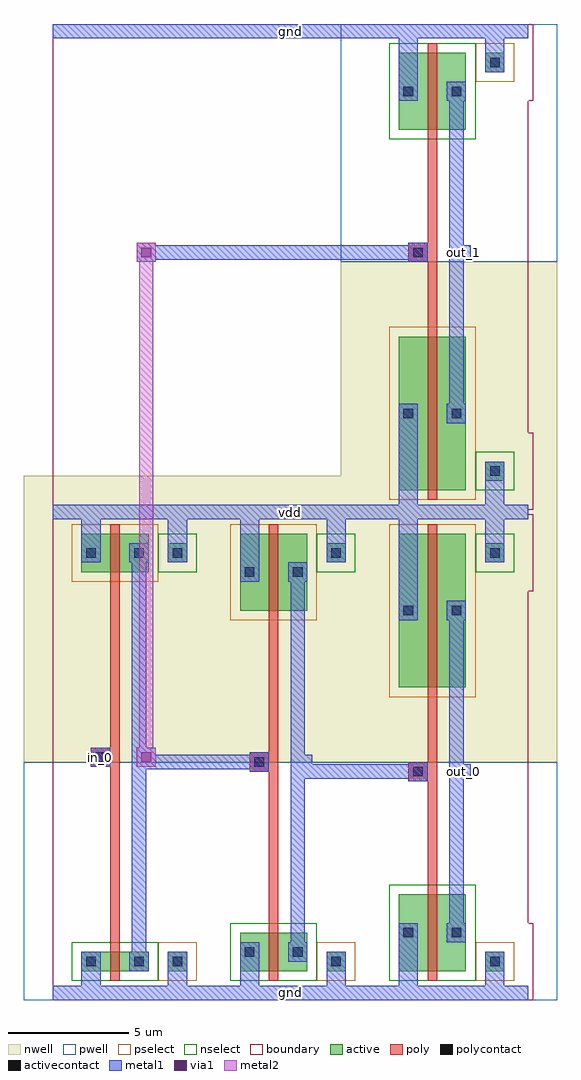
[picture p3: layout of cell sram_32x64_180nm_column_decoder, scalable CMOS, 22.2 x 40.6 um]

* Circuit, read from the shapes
.subckt sram_32x64_180nm_column_decoder gnd in_0 out_0 out_1 vdd
M1 sram_32x64_180nm_pinvbuf_0/sram_32x64_180nm_pinv_3_1/A in_0 gnd gnd nfet w=0.8u l=0.4u
M2 sram_32x64_180nm_pinvbuf_0/sram_32x64_180nm_pinv_4_2/A sram_32x64_180nm_pinvbuf_0/sram_32x64_180nm_pinv_3_1/A gnd gnd nfet w=1.6u l=0.4u
M3 out_0 sram_32x64_180nm_pinvbuf_0/sram_32x64_180nm_pinv_4_2/A gnd gnd nfet w=3.2u l=0.4u
M4 out_1 sram_32x64_180nm_pinvbuf_0/sram_32x64_180nm_pinv_3_1/A gnd gnd nfet w=3.2u l=0.4u
M5 sram_32x64_180nm_pinvbuf_0/sram_32x64_180nm_pinv_3_1/A in_0 vdd vdd pfet w=1.6u l=0.4u
M6 sram_32x64_180nm_pinvbuf_0/sram_32x64_180nm_pinv_4_2/A sram_32x64_180nm_pinvbuf_0/sram_32x64_180nm_pinv_3_1/A vdd vdd pfet w=3.2u l=0.4u
M7 out_0 sram_32x64_180nm_pinvbuf_0/sram_32x64_180nm_pinv_4_2/A vdd vdd pfet w=6.4u l=0.4u
M8 out_1 sram_32x64_180nm_pinvbuf_0/sram_32x64_180nm_pinv_3_1/A vdd vdd pfet w=6.4u l=0.4u
.ends

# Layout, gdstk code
import gdstk
lib = gdstk.Library(unit=1e-6, precision=1e-09)
def R(c, l, rs):  # rectangles x0, y0, x1, y1
    for r in rs: c.add(gdstk.rectangle(r[:2], r[2:], *l))
def A(c, l, x, y, w, h, nx, ny, dx, dy):  # array of equal rectangles
    R(c, l, [(x+i*dx, y+j*dy, x+i*dx+w, y+j*dy+h) for i in range(nx) for j in range(ny)])
pwell = (41, 0)
nwell = (42, 0)
active = (43, 0)
pselect = (44, 0)
nselect = (45, 0)
poly = (46, 0)
polycontact = (47, 0)
activecontact = (48, 0)
metal1 = (49, 0)
via1 = (50, 0)
metal2 = (51, 0)
boundary = (63, 0)

sram_32x64_180nm_contact = lib.new_cell('sram_32x64_180nm_contact_12')
R(sram_32x64_180nm_contact, nwell, [(-1.2,-1.2,2,2)])
R(sram_32x64_180nm_contact, active, [(0,0,0.8,0.8)])
R(sram_32x64_180nm_contact, pselect, [(-0.4,-0.4,1.2,1.2)])
R(sram_32x64_180nm_contact, activecontact, [(0.2,0.2,0.6,0.6)])
R(sram_32x64_180nm_contact, metal1, [(0,0,0.8,0.8)])
R(sram_32x64_180nm_contact, boundary, [(-1.2,-1.2,2,2)])

sram_32x64_180nm_pmos_m1 = lib.new_cell('sram_32x64_180nm_pmos_m1_w1_600_sm1_dm1_da_p')
R(sram_32x64_180nm_pmos_m1, nwell, [(-1.2,-1.2,4,2.8)])
R(sram_32x64_180nm_pmos_m1, active, [(0,0,2.8,1.6)])
R(sram_32x64_180nm_pmos_m1, pselect, [(-0.4,-0.4,3.2,2)])
R(sram_32x64_180nm_pmos_m1, poly, [(1.2,-0.4,1.6,2), (1.2,-0.4,1.6,2)])
R(sram_32x64_180nm_pmos_m1, metal1, [(0,0.4,0.8,1.2), (2,0.4,2.8,1.2)])
R(sram_32x64_180nm_pmos_m1, boundary, [(-1.2,-1.2,4,2.8)])
sram_32x64_180nm_pmos_m1.add(gdstk.Reference(sram_32x64_180nm_contact, (0,0.4)))
sram_32x64_180nm_pmos_m1.add(gdstk.Reference(sram_32x64_180nm_contact, (2,0.4)))
sram_32x64_180nm_pmos_m1.add(gdstk.Label('G', (1.4,0.8), layer=46, texttype=0))
sram_32x64_180nm_pmos_m1.add(gdstk.Label('S', (0.4,0.8), layer=49, texttype=0))
sram_32x64_180nm_pmos_m1.add(gdstk.Label('D', (2.4,0.8), layer=49, texttype=0))

c_sram_32x64_180nm_contact = lib.new_cell('sram_32x64_180nm_contact_11')
R(c_sram_32x64_180nm_contact, pwell, [(-1.2,-1.2,2,2)])
R(c_sram_32x64_180nm_contact, active, [(0,0,0.8,0.8)])
R(c_sram_32x64_180nm_contact, nselect, [(-0.4,-0.4,1.2,1.2)])
R(c_sram_32x64_180nm_contact, activecontact, [(0.2,0.2,0.6,0.6)])
R(c_sram_32x64_180nm_contact, metal1, [(0,0,0.8,0.8)])
R(c_sram_32x64_180nm_contact, boundary, [(-1.2,-1.2,2,2)])

sram_32x64_180nm_nmos_m1 = lib.new_cell('sram_32x64_180nm_nmos_m1_w0_800_sm1_dm1_da_p')
R(sram_32x64_180nm_nmos_m1, pwell, [(-1.2,-1.2,4,2)])
R(sram_32x64_180nm_nmos_m1, active, [(0,0,2.8,0.8)])
R(sram_32x64_180nm_nmos_m1, nselect, [(-0.4,-0.4,3.2,1.2)])
R(sram_32x64_180nm_nmos_m1, poly, [(1.2,-0.4,1.6,1.2), (1.2,-0.4,1.6,1.2)])
R(sram_32x64_180nm_nmos_m1, metal1, [(0,0,0.8,0.8), (2,0,2.8,0.8)])
R(sram_32x64_180nm_nmos_m1, boundary, [(-1.2,-1.2,4,2)])
sram_32x64_180nm_nmos_m1.add(gdstk.Reference(c_sram_32x64_180nm_contact, (0,0)))
sram_32x64_180nm_nmos_m1.add(gdstk.Reference(c_sram_32x64_180nm_contact, (2,0)))
sram_32x64_180nm_nmos_m1.add(gdstk.Label('G', (1.4,0.4), layer=46, texttype=0))
sram_32x64_180nm_nmos_m1.add(gdstk.Label('S', (0.4,0.4), layer=49, texttype=0))
sram_32x64_180nm_nmos_m1.add(gdstk.Label('D', (2.4,0.4), layer=49, texttype=0))

c_sram_32x64_180nm_contact_ = lib.new_cell('sram_32x64_180nm_contact_13')
R(c_sram_32x64_180nm_contact_, nwell, [(-1.2,-1.2,2,2)])
R(c_sram_32x64_180nm_contact_, active, [(0,0,0.8,0.8)])
R(c_sram_32x64_180nm_contact_, nselect, [(-0.4,-0.4,1.2,1.2)])
R(c_sram_32x64_180nm_contact_, activecontact, [(0.2,0.2,0.6,0.6)])
R(c_sram_32x64_180nm_contact_, metal1, [(0,0,0.8,0.8)])
R(c_sram_32x64_180nm_contact_, boundary, [(-1.2,-1.2,2,2)])

c_sram_32x64_180nm_contact__ = lib.new_cell('sram_32x64_180nm_contact_14')
R(c_sram_32x64_180nm_contact__, pwell, [(-1.2,-1.2,2,2)])
R(c_sram_32x64_180nm_contact__, active, [(0,0,0.8,0.8)])
R(c_sram_32x64_180nm_contact__, pselect, [(-0.4,-0.4,1.2,1.2)])
R(c_sram_32x64_180nm_contact__, activecontact, [(0.2,0.2,0.6,0.6)])
R(c_sram_32x64_180nm_contact__, metal1, [(0,0,0.8,0.8)])
R(c_sram_32x64_180nm_contact__, boundary, [(-1.2,-1.2,2,2)])

c_sram_32x64_180nm_contact___ = lib.new_cell('sram_32x64_180nm_contact_15')
R(c_sram_32x64_180nm_contact___, poly, [(0,0,0.8,0.8)])
R(c_sram_32x64_180nm_contact___, polycontact, [(0.2,0.2,0.6,0.6)])
R(c_sram_32x64_180nm_contact___, metal1, [(0,0,0.8,0.8)])
R(c_sram_32x64_180nm_contact___, boundary, [(0,0,0.8,0.8)])

sram_32x64_180nm_pinv_2 = lib.new_cell('sram_32x64_180nm_pinv_2')
R(sram_32x64_180nm_pinv_2, pwell, [(-1.2,-0.3,7.8,9.6)])
R(sram_32x64_180nm_pinv_2, nwell, [(-1.2,9.6,7.8,21.5)])
R(sram_32x64_180nm_pinv_2, poly, [(2.4,2.1,2.8,17.1), (2,9.4,2.4,10.2)])
R(sram_32x64_180nm_pinv_2, metal1, [(0,-0.3,6.6,0.3), (1.2,-0.3,2,0.9), (4.8,0,5.6,1.3), (3.3,0.9,3.9,18.7), (1.6,9.4,2.4,10.2), (3.6,9.5,4.2,10.1), (1.2,17.9,2,20.3), (4.8,18.3,5.6,20), (0,19.7,6.6,20.3)])
R(sram_32x64_180nm_pinv_2, boundary, [(0,0,6.6,20), (0,0,6.6,20)])
sram_32x64_180nm_pinv_2.add(gdstk.Reference(sram_32x64_180nm_pmos_m1, (1.2,17.5)))
sram_32x64_180nm_pinv_2.add(gdstk.Reference(sram_32x64_180nm_nmos_m1, (1.2,0.9)))
sram_32x64_180nm_pinv_2.add(gdstk.Reference(c_sram_32x64_180nm_contact_, (4.8,17.9)))
sram_32x64_180nm_pinv_2.add(gdstk.Reference(c_sram_32x64_180nm_contact__, (4.8,0.9)))
sram_32x64_180nm_pinv_2.add(gdstk.Reference(c_sram_32x64_180nm_contact___, (1.6,9.4)))
sram_32x64_180nm_pinv_2.add(gdstk.Label('A', (2,9.8), layer=49, texttype=0))
sram_32x64_180nm_pinv_2.add(gdstk.Label('Z', (3.9,9.8), layer=49, texttype=0))
sram_32x64_180nm_pinv_2.add(gdstk.Label('gnd', (3.3,0), layer=49, texttype=0))
sram_32x64_180nm_pinv_2.add(gdstk.Label('vdd', (3.3,20), layer=49, texttype=0))

c_sram_32x64_180nm_pmos_m1 = lib.new_cell('sram_32x64_180nm_pmos_m1_w3_200_sm1_dm1_da_p')
R(c_sram_32x64_180nm_pmos_m1, nwell, [(-1.2,-1.2,4,4.4)])
R(c_sram_32x64_180nm_pmos_m1, active, [(0,0,2.8,3.2)])
R(c_sram_32x64_180nm_pmos_m1, pselect, [(-0.4,-0.4,3.2,3.6)])
R(c_sram_32x64_180nm_pmos_m1, poly, [(1.2,-0.4,1.6,3.6), (1.2,-0.4,1.6,3.6)])
R(c_sram_32x64_180nm_pmos_m1, metal1, [(0,1.2,0.8,2), (2,1.2,2.8,2)])
R(c_sram_32x64_180nm_pmos_m1, boundary, [(-1.2,-1.2,4,4.4)])
c_sram_32x64_180nm_pmos_m1.add(gdstk.Reference(sram_32x64_180nm_contact, (0,1.2)))
c_sram_32x64_180nm_pmos_m1.add(gdstk.Reference(sram_32x64_180nm_contact, (2,1.2)))
c_sram_32x64_180nm_pmos_m1.add(gdstk.Label('G', (1.4,1.6), layer=46, texttype=0))
c_sram_32x64_180nm_pmos_m1.add(gdstk.Label('S', (0.4,1.6), layer=49, texttype=0))
c_sram_32x64_180nm_pmos_m1.add(gdstk.Label('D', (2.4,1.6), layer=49, texttype=0))

c_sram_32x64_180nm_nmos_m1 = lib.new_cell('sram_32x64_180nm_nmos_m1_w1_600_sm1_dm1_da_p')
R(c_sram_32x64_180nm_nmos_m1, pwell, [(-1.2,-1.2,4,2.8)])
R(c_sram_32x64_180nm_nmos_m1, active, [(0,0,2.8,1.6)])
R(c_sram_32x64_180nm_nmos_m1, nselect, [(-0.4,-0.4,3.2,2)])
R(c_sram_32x64_180nm_nmos_m1, poly, [(1.2,-0.4,1.6,2), (1.2,-0.4,1.6,2)])
R(c_sram_32x64_180nm_nmos_m1, metal1, [(0,0.4,0.8,1.2), (2,0.4,2.8,1.2)])
R(c_sram_32x64_180nm_nmos_m1, boundary, [(-1.2,-1.2,4,2.8)])
c_sram_32x64_180nm_nmos_m1.add(gdstk.Reference(c_sram_32x64_180nm_contact, (0,0.4)))
c_sram_32x64_180nm_nmos_m1.add(gdstk.Reference(c_sram_32x64_180nm_contact, (2,0.4)))
c_sram_32x64_180nm_nmos_m1.add(gdstk.Label('G', (1.4,0.8), layer=46, texttype=0))
c_sram_32x64_180nm_nmos_m1.add(gdstk.Label('S', (0.4,0.8), layer=49, texttype=0))
c_sram_32x64_180nm_nmos_m1.add(gdstk.Label('D', (2.4,0.8), layer=49, texttype=0))

sram_32x64_180nm_pinv_3 = lib.new_cell('sram_32x64_180nm_pinv_3')
R(sram_32x64_180nm_pinv_3, pwell, [(-1.2,-0.3,7.8,9.6)])
R(sram_32x64_180nm_pinv_3, nwell, [(-1.2,9.6,7.8,21.5)])
R(sram_32x64_180nm_pinv_3, poly, [(2.4,2.9,2.8,15.5), (2,9.2,2.4,10)])
R(sram_32x64_180nm_pinv_3, metal1, [(0,-0.3,6.6,0.3), (1.2,-0.3,2,1.3), (4.8,0,5.6,1.3), (3.3,1.3,3.9,17.9), (1.6,9.2,2.4,10), (3.6,9.3,4.2,9.9), (1.2,17.1,2,20.3), (4.8,18.3,5.6,20), (0,19.7,6.6,20.3)])
R(sram_32x64_180nm_pinv_3, boundary, [(0,0,6.6,20), (0,0,6.6,20)])
sram_32x64_180nm_pinv_3.add(gdstk.Reference(c_sram_32x64_180nm_pmos_m1, (1.2,15.9)))
sram_32x64_180nm_pinv_3.add(gdstk.Reference(c_sram_32x64_180nm_nmos_m1, (1.2,0.9)))
sram_32x64_180nm_pinv_3.add(gdstk.Reference(c_sram_32x64_180nm_contact_, (4.8,17.9)))
sram_32x64_180nm_pinv_3.add(gdstk.Reference(c_sram_32x64_180nm_contact__, (4.8,0.9)))
sram_32x64_180nm_pinv_3.add(gdstk.Reference(c_sram_32x64_180nm_contact___, (1.6,9.2)))
sram_32x64_180nm_pinv_3.add(gdstk.Label('A', (2,9.6), layer=49, texttype=0))
sram_32x64_180nm_pinv_3.add(gdstk.Label('Z', (3.9,9.6), layer=49, texttype=0))
sram_32x64_180nm_pinv_3.add(gdstk.Label('gnd', (3.3,0), layer=49, texttype=0))
sram_32x64_180nm_pinv_3.add(gdstk.Label('vdd', (3.3,20), layer=49, texttype=0))

c_sram_32x64_180nm_pmos_m1_ = lib.new_cell('sram_32x64_180nm_pmos_m1_w6_400_sm1_dm1_da_p')
R(c_sram_32x64_180nm_pmos_m1_, nwell, [(-1.2,-1.2,4,7.6)])
R(c_sram_32x64_180nm_pmos_m1_, active, [(0,0,2.8,6.4)])
R(c_sram_32x64_180nm_pmos_m1_, pselect, [(-0.4,-0.4,3.2,6.8)])
R(c_sram_32x64_180nm_pmos_m1_, poly, [(1.2,-0.4,1.6,6.8), (1.2,-0.4,1.6,6.8)])
R(c_sram_32x64_180nm_pmos_m1_, metal1, [(0,2.8,0.8,3.6), (2,2.8,2.8,3.6)])
R(c_sram_32x64_180nm_pmos_m1_, boundary, [(-1.2,-1.2,4,7.6)])
c_sram_32x64_180nm_pmos_m1_.add(gdstk.Reference(sram_32x64_180nm_contact, (0,2.8)))
c_sram_32x64_180nm_pmos_m1_.add(gdstk.Reference(sram_32x64_180nm_contact, (2,2.8)))
c_sram_32x64_180nm_pmos_m1_.add(gdstk.Label('G', (1.4,3.2), layer=46, texttype=0))
c_sram_32x64_180nm_pmos_m1_.add(gdstk.Label('S', (0.4,3.2), layer=49, texttype=0))
c_sram_32x64_180nm_pmos_m1_.add(gdstk.Label('D', (2.4,3.2), layer=49, texttype=0))

c_sram_32x64_180nm_nmos_m1_ = lib.new_cell('sram_32x64_180nm_nmos_m1_w3_200_sm1_dm1_da_p')
R(c_sram_32x64_180nm_nmos_m1_, pwell, [(-1.2,-1.2,4,4.4)])
R(c_sram_32x64_180nm_nmos_m1_, active, [(0,0,2.8,3.2)])
R(c_sram_32x64_180nm_nmos_m1_, nselect, [(-0.4,-0.4,3.2,3.6)])
R(c_sram_32x64_180nm_nmos_m1_, poly, [(1.2,-0.4,1.6,3.6), (1.2,-0.4,1.6,3.6)])
R(c_sram_32x64_180nm_nmos_m1_, metal1, [(0,1.2,0.8,2), (2,1.2,2.8,2)])
R(c_sram_32x64_180nm_nmos_m1_, boundary, [(-1.2,-1.2,4,4.4)])
c_sram_32x64_180nm_nmos_m1_.add(gdstk.Reference(c_sram_32x64_180nm_contact, (0,1.2)))
c_sram_32x64_180nm_nmos_m1_.add(gdstk.Reference(c_sram_32x64_180nm_contact, (2,1.2)))
c_sram_32x64_180nm_nmos_m1_.add(gdstk.Label('G', (1.4,1.6), layer=46, texttype=0))
c_sram_32x64_180nm_nmos_m1_.add(gdstk.Label('S', (0.4,1.6), layer=49, texttype=0))
c_sram_32x64_180nm_nmos_m1_.add(gdstk.Label('D', (2.4,1.6), layer=49, texttype=0))

sram_32x64_180nm_pinv_4 = lib.new_cell('sram_32x64_180nm_pinv_4')
R(sram_32x64_180nm_pinv_4, pwell, [(-1.2,-0.3,7.8,9.6)])
R(sram_32x64_180nm_pinv_4, nwell, [(-1.2,9.6,7.8,21.5)])
R(sram_32x64_180nm_pinv_4, poly, [(2.4,4.5,2.8,12.3), (2,8.8,2.4,9.6)])
R(sram_32x64_180nm_pinv_4, metal1, [(0,-0.3,6.6,0.3), (1.2,-0.3,2,2.1), (4.8,0,5.6,1.3), (3.3,2.1,3.9,16.3), (1.6,8.8,2.4,9.6), (3.6,8.9,4.2,9.5), (1.2,15.5,2,20.3), (4.8,18.3,5.6,20), (0,19.7,6.6,20.3)])
R(sram_32x64_180nm_pinv_4, boundary, [(0,0,6.6,20), (0,0,6.6,20)])
sram_32x64_180nm_pinv_4.add(gdstk.Reference(c_sram_32x64_180nm_pmos_m1_, (1.2,12.7)))
sram_32x64_180nm_pinv_4.add(gdstk.Reference(c_sram_32x64_180nm_nmos_m1_, (1.2,0.9)))
sram_32x64_180nm_pinv_4.add(gdstk.Reference(c_sram_32x64_180nm_contact_, (4.8,17.9)))
sram_32x64_180nm_pinv_4.add(gdstk.Reference(c_sram_32x64_180nm_contact__, (4.8,0.9)))
sram_32x64_180nm_pinv_4.add(gdstk.Reference(c_sram_32x64_180nm_contact___, (1.6,8.8)))
sram_32x64_180nm_pinv_4.add(gdstk.Label('A', (2,9.2), layer=49, texttype=0))
sram_32x64_180nm_pinv_4.add(gdstk.Label('Z', (3.9,9.2), layer=49, texttype=0))
sram_32x64_180nm_pinv_4.add(gdstk.Label('gnd', (3.3,0), layer=49, texttype=0))
sram_32x64_180nm_pinv_4.add(gdstk.Label('vdd', (3.3,20), layer=49, texttype=0))

c_sram_32x64_180nm_contact____ = lib.new_cell('sram_32x64_180nm_contact_18')
R(c_sram_32x64_180nm_contact____, metal1, [(0,0,0.8,0.8)])
R(c_sram_32x64_180nm_contact____, via1, [(0.2,0.2,0.6,0.6)])
R(c_sram_32x64_180nm_contact____, metal2, [(0,0,0.8,0.8)])
R(c_sram_32x64_180nm_contact____, boundary, [(0,0,0.8,0.8)])

sram_32x64_180nm_pinvbuf = lib.new_cell('sram_32x64_180nm_pinvbuf')
A(sram_32x64_180nm_pinvbuf, metal1, 0, 0, 19.8, 0.6, 1, 3, 0, 20)
R(sram_32x64_180nm_pinvbuf, metal1, [(10.2,9.2,10.8,9.8), (10.5,9.2,15.2,9.8), (14.9,9.2,15.5,9.8), (16.8,9.2,17.4,9.8), (10.2,9.5,10.8,9.9), (3.6,9.6,4.2,10.2), (3.9,9.6,8.6,10.2), (8.3,9.6,8.9,10.2), (1.7,9.8,2.3,10.4), (3.6,9.9,4.2,10.1), (3.9,30.8,15.2,31.4), (16.8,30.8,17.4,31.4)])
R(sram_32x64_180nm_pinvbuf, metal2, [(3.6,10.1,4.2,31.1)])
R(sram_32x64_180nm_pinvbuf, boundary, [(0,0,19.8,40), (0,0.3,19.8,40.3)])
sram_32x64_180nm_pinvbuf.add(gdstk.Reference(sram_32x64_180nm_pinv_2, (0,0.3)))
sram_32x64_180nm_pinvbuf.add(gdstk.Reference(sram_32x64_180nm_pinv_3, (6.6,0.3)))
sram_32x64_180nm_pinvbuf.add(gdstk.Reference(sram_32x64_180nm_pinv_4, (13.2,0.3)))
sram_32x64_180nm_pinvbuf.add(gdstk.Reference(sram_32x64_180nm_pinv_4, (13.2,40.3), x_reflection=True))
sram_32x64_180nm_pinvbuf.add(gdstk.Reference(c_sram_32x64_180nm_contact____, (3.5,30.7)))
sram_32x64_180nm_pinvbuf.add(gdstk.Reference(c_sram_32x64_180nm_contact____, (3.5,9.7)))
sram_32x64_180nm_pinvbuf.add(gdstk.Label('vdd', (9.9,20.3), layer=49, texttype=0))
sram_32x64_180nm_pinvbuf.add(gdstk.Label('gnd', (9.9,0.3), layer=49, texttype=0))
sram_32x64_180nm_pinvbuf.add(gdstk.Label('gnd', (9.9,40.3), layer=49, texttype=0))
sram_32x64_180nm_pinvbuf.add(gdstk.Label('Z', (17.1,31.1), layer=49, texttype=0))
sram_32x64_180nm_pinvbuf.add(gdstk.Label('Zb', (17.1,9.5), layer=49, texttype=0))
sram_32x64_180nm_pinvbuf.add(gdstk.Label('A', (2,10.1), layer=49, texttype=0))

sram_32x64_180nm_column_ = lib.new_cell('sram_32x64_180nm_column_decoder')
A(sram_32x64_180nm_column_, metal1, 0, 0, 19.8, 0.6, 1, 3, 0, 20)
R(sram_32x64_180nm_column_, metal1, [(16.8,9.2,17.4,9.8), (1.7,9.8,2.3,10.4), (16.8,30.8,17.4,31.4)])
R(sram_32x64_180nm_column_, boundary, [(0,0,19.8,40.6)])
sram_32x64_180nm_column_.add(gdstk.Reference(sram_32x64_180nm_pinvbuf, (0,0)))
sram_32x64_180nm_column_.add(gdstk.Label('in_0', (2,10.1), layer=49, texttype=0))
sram_32x64_180nm_column_.add(gdstk.Label('out_0', (17.1,9.5), layer=49, texttype=0))
sram_32x64_180nm_column_.add(gdstk.Label('out_1', (17.1,31.1), layer=49, texttype=0))
sram_32x64_180nm_column_.add(gdstk.Label('vdd', (9.9,20.3), layer=49, texttype=0))
sram_32x64_180nm_column_.add(gdstk.Label('gnd', (9.9,40.3), layer=49, texttype=0))
sram_32x64_180nm_column_.add(gdstk.Label('gnd', (9.9,0.3), layer=49, texttype=0))

lib.write_gds('sram_32x64_180nm_column_decoder.gds')
